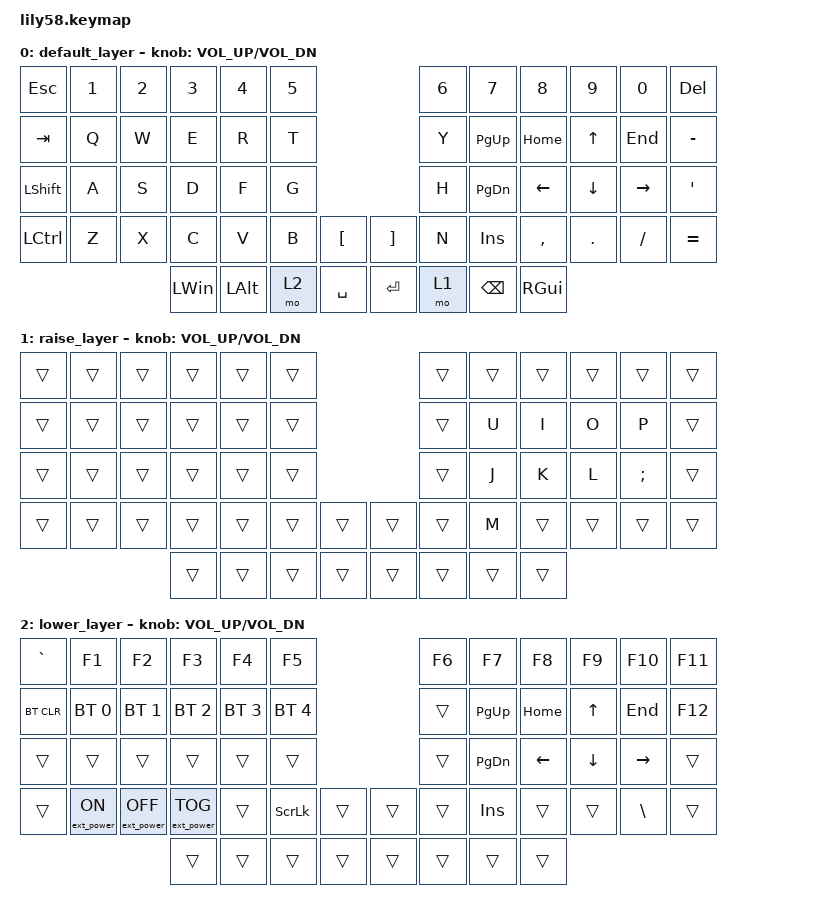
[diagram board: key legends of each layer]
/*
 * Copyright (c) 2020 The ZMK Contributors
 *
 * SPDX-License-Identifier: MIT
 */

#include <behaviors.dtsi>
#include <dt-bindings/zmk/bt.h>
#include <dt-bindings/zmk/ext_power.h>
#include <dt-bindings/zmk/keys.h>

/ {
    keymap {
        compatible = "zmk,keymap";

        default_layer {
            // ------------------------------------------------------------------------------------------------------------
            // |  ESC  |  1  |  2  |  3   |  4   |  5   |                   |  6   |  7   |  8    |  9   |  0   |  DEL  |
            // |  TAB  |  Q  |  W  |  E   |  R   |  T   |                   |  Y   |PG_UP |  HOME |  ^   | END  |   -   |
            // |  CTRL |  A  |  S  |  D   |  F   |  G   |                   |  H   |PG_DN |  <-   |  v   |  ->  |   '   |
            // | SHIFT |  Z  |  X  |  C   |  V   |  B   |   "["  |  |  "]"  |  N   | INS  |  ,    |  .   |  /   |   =   |
            //                     | ALT  | GUI  | LOWER|  SPACE |  | ENTER | RAISE| BSPC | GUI   |

            bindings = <
&kp ESC         &kp N1  &kp N2  &kp N3        &kp N4        &kp N5                         &kp N6          &kp N7          &kp N8        &kp N9        &kp N0      &kp DEL
&kp TAB         &kp Q   &kp W   &kp E         &kp R         &kp T                          &kp Y           &kp PAGE_UP     &kp HOME      &kp UP_ARROW  &kp END     &kp MINUS
&kp LEFT_SHIFT  &kp A   &kp S   &kp D         &kp F         &kp G                          &kp H           &kp PAGE_DOWN   &kp LEFT      &kp DOWN      &kp RIGHT   &kp SQT
&kp LCTRL       &kp Z   &kp X   &kp C         &kp V         &kp B   &kp LBKT     &kp RBKT  &kp N           &kp INS         &kp COMMA     &kp DOT       &kp FSLH    &kp EQUAL
                                &kp LEFT_WIN  &kp LEFT_ALT  &mo 2   &kp SPACE    &kp RET   &mo 1           &kp BACKSPACE   &kp RGUI
            >;

            sensor-bindings = <&inc_dec_kp C_VOL_UP C_VOL_DN>;
        };

        raise_layer {
            // |       |     |      |      |      |      |                   |      |     |     |     |     |       |
            // |       |     |      |      |      |      |                   |      |  U  |  I  |  O  |  P  |       |
            // |       |     |      |      |      |      |                   |      |  J  |  K  |  L  |  ;  |       |
            // |       |     |      |      |      |      |        |  |       |      |  M  |     |     |     |       |
            //                      |      |      |      |        |  |       |      |     |     |

            bindings = <
&trans      &trans            &trans             &trans             &trans        &trans                            &trans     &trans    &trans     &trans     &trans     &trans
&trans      &trans            &trans             &trans             &trans        &trans                            &trans     &kp U     &kp I      &kp O      &kp P      &trans
&trans      &trans            &trans             &trans             &trans        &trans                            &trans     &kp J     &kp K      &kp L      &kp SEMI   &trans
&trans      &trans            &trans             &trans             &trans        &trans      &trans    &trans      &trans     &kp M     &trans     &trans     &trans     &trans
                                                 &trans             &trans        &trans      &trans    &trans      &trans     &trans    &trans
            >;

            sensor-bindings = <&inc_dec_kp C_VOL_UP C_VOL_DN>;
        };

        lower_layer {
            // ------------------------------------------------------------------------------------------------------------
            // |   `   |  F1 |  F2  |  F3  |  F4  |  F5  |                   |  F6  |  F7   |  F8   |  F9  |  F10  |  F11  |
            // | BTCLR | BT0 | BT1  | BT2  | BT3  | BT4  |                   |      | PG_UP | HOME  |  ^   |  END  |  F12  |
            // |       |     |      |      |      |      |                   |      | PG_DN |  <-   |  v   |   ->  |       |
            // |       |EP_ON|EP_OFF|EP_TOG|      | SCRLK|        |  |       |      |  INS  |       |      |   /   |       |
            //                      |      |      |      |        |  |       |      |       |       |

            bindings = <
&kp GRAVE   &kp F1            &kp F2             &kp F3             &kp F4        &kp F5                            &kp F6         &kp F7         &kp F8        &kp F9         &kp F10        &kp F11
&bt BT_CLR  &bt BT_SEL 0      &bt BT_SEL 1       &bt BT_SEL 2       &bt BT_SEL 3  &bt BT_SEL 4                      &trans         &kp PAGE_UP    &kp HOME      &kp UP_ARROW   &kp END        &kp F12
&trans      &trans            &trans             &trans             &trans        &trans                            &trans         &kp PAGE_DOWN  &kp LEFT      &kp DOWN       &kp RIGHT      &trans
&trans      &ext_power EP_ON  &ext_power EP_OFF  &ext_power EP_TOG  &trans        &kp SCROLLLOCK  &trans    &trans  &trans         &kp INS        &trans        &trans         &kp BACKSLASH  &trans
                                                 &trans             &trans        &trans          &trans    &trans  &trans         &trans         &trans
            >;

            sensor-bindings = <&inc_dec_kp C_VOL_UP C_VOL_DN>;
        };
    };
};
